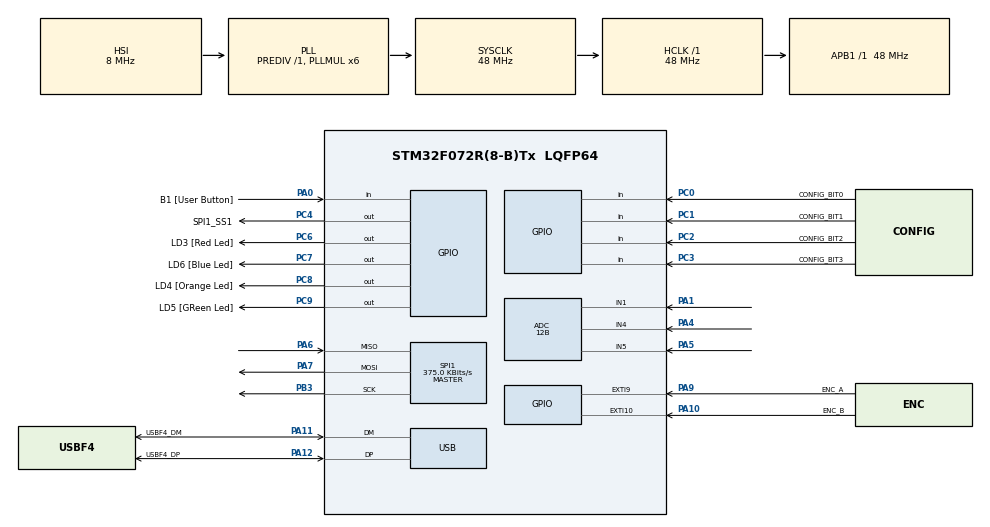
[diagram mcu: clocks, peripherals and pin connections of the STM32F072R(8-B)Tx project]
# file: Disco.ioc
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ADC.ClockPrescaler=ADC_CLOCK_SYNC_PCLK_DIV4
ADC.ContinuousConvMode=ENABLE
ADC.DMAContinuousRequests=ENABLE
ADC.Resolution=ADC_RESOLUTION_12B
ADC.SamplingTime=ADC_SAMPLETIME_28CYCLES_5
ADC.ScanConvMode=ADC_SCAN_DIRECTION_FORWARD
Dma.ADC.0.Direction=DMA_PERIPH_TO_MEMORY
Dma.ADC.0.Instance=DMA1_Channel1
Dma.ADC.0.MemDataAlignment=DMA_MDATAALIGN_WORD
Dma.ADC.0.MemInc=DMA_MINC_ENABLE
Dma.ADC.0.Mode=DMA_CIRCULAR
Dma.ADC.0.PeriphDataAlignment=DMA_PDATAALIGN_WORD
Dma.ADC.0.PeriphInc=DMA_PINC_DISABLE
Dma.ADC.0.Priority=DMA_PRIORITY_LOW
Dma.Request0=ADC
Mcu.Family=STM32F0
Mcu.Name=STM32F072R(8-B)Tx
Mcu.Package=LQFP64
NVIC.DMA1_Channel1_IRQn=true\:0\:0\:true\:false\:true\:false\:true
NVIC.EXTI4_15_IRQn=true\:0\:0\:true\:false\:true\:true\:true
NVIC.TIM14_IRQn=true\:0\:0\:true\:false\:true\:true\:true
NVIC.USB_IRQn=true\:0\:0\:true\:false\:true\:false\:true
PA0.GPIO_Label=B1 [User Button]
PA0.Signal=GPIO_Input
PA1.Mode=IN1
PA1.Signal=ADC_IN1
PA10.GPIO_Label=ENC_B
PA10.GPIO_ModeDefaultEXTI=GPIO_MODE_IT_RISING_FALLING
PA10.GPIO_PuPd=GPIO_PULLUP
PA10.Signal=GPXTI10
PA11.GPIO_Label=USBF4_DM
PA11.Mode=Device
PA11.Signal=USB_DM
PA12.GPIO_Label=USBF4_DP
PA12.Mode=Device
PA12.Signal=USB_DP
PA13.GPIO_Label=SWDIO
PA13.Mode=Serial_Wire
PA13.Signal=SYS_SWDIO
PA14.GPIO_Label=SWCLK
PA14.Mode=Serial_Wire
PA14.Signal=SYS_SWCLK
PA4.Mode=IN4
PA4.Signal=ADC_IN4
PA5.Mode=IN5
PA5.Signal=ADC_IN5
PA6.Mode=Full_Duplex_Master
PA6.Signal=SPI1_MISO
PA7.Mode=Full_Duplex_Master
PA7.Signal=SPI1_MOSI
PA9.GPIO_Label=ENC_A
PA9.GPIO_ModeDefaultEXTI=GPIO_MODE_IT_RISING_FALLING
PA9.GPIO_PuPd=GPIO_PULLUP
PA9.Signal=GPXTI9
PB3.Mode=Full_Duplex_Master
PB3.Signal=SPI1_SCK
PC0.GPIO_Label=CONFIG_BIT0
PC0.Signal=GPIO_Input
PC1.GPIO_Label=CONFIG_BIT1
PC1.Signal=GPIO_Input
PC2.GPIO_Label=CONFIG_BIT2
PC2.Signal=GPIO_Input
PC3.GPIO_Label=CONFIG_BIT3
PC3.Signal=GPIO_Input
PC4.GPIO_Label=SPI1_SS1
PC4.Signal=GPIO_Output
PC6.GPIO_Label=LD3 [Red Led]
PC6.Signal=GPIO_Output
PC7.GPIO_Label=LD6 [Blue Led]
PC7.Signal=GPIO_Output
PC8.GPIO_Label=LD4 [Orange Led]
PC8.Signal=GPIO_Output
PC9.GPIO_Label=LD5 [GReen Led]
PC9.Signal=GPIO_Output
ProjectManager.HeapSize=0x200
ProjectManager.StackSize=0x400
ProjectManager.TargetToolchain=STM32CubeIDE
RCC.AHBFreq_Value=48000000
RCC.APB1Freq_Value=48000000
RCC.APB1TimFreq_Value=48000000
RCC.HCLKFreq_Value=48000000
RCC.PLLMUL=RCC_PLL_MUL6
RCC.SYSCLKFreq_VALUE=48000000
RCC.SYSCLKSource=RCC_SYSCLKSOURCE_PLLCLK
SPI1.BaudRatePrescaler=SPI_BAUDRATEPRESCALER_128
SPI1.CLKPhase=SPI_PHASE_1EDGE
SPI1.CLKPolarity=SPI_POLARITY_LOW
SPI1.CalculateBaudRate=375.0 KBits/s
SPI1.DataSize=SPI_DATASIZE_8BIT
SPI1.Direction=SPI_DIRECTION_2LINES
SPI1.Mode=SPI_MODE_MASTER
SPI1.VirtualType=VM_MASTER
TIM14.Period=64865
TIM14.Prescaler=74
TIM2.Prescaler=48
USB.phy_itface=PCD_PHY_EMBEDDED
USB.speed=PCD_SPEED_FULL
USB_DEVICE.CLASS_NAME_FS=CDC
USB_DEVICE.VirtualMode=Cdc
USB_DEVICE.VirtualModeFS=Cdc_FS
VP_TIM14_VS_ClockSourceINT.Mode=Enable_Timer
VP_TIM2_VS_ClockSourceINT.Mode=Internal
VP_USB_DEVICE_VS_USB_DEVICE_CDC_FS.Mode=CDC_FS
board=STM32F072B-DISCO

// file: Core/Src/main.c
/* USER CODE BEGIN Header */
/**
  ******************************************************************************
  * @file           : main.c
  * @brief          : Main program body
  ******************************************************************************
  * @attention
  *
  * <h2><center>&copy; Copyright (c) 2020 STMicroelectronics.
  * All rights reserved.</center></h2>
  *
  * This software component is licensed by ST under BSD 3-Clause license,
  * the "License"; You may not use this file except in compliance with the
  * License. You may obtain a copy of the License at:
  *                        opensource.org/licenses/BSD-3-Clause
  *
  ******************************************************************************
  */
/* USER CODE END Header */
#include "main.h"
#include "usb_device.h"

/* USER CODE BEGIN Includes */
#include "acquisition.h"
#include "outputs.h"
#include "panda_usb_device.h"
/* USER CODE END Includes */

ADC_HandleTypeDef hadc;
DMA_HandleTypeDef hdma_adc;

SPI_HandleTypeDef hspi1;

TIM_HandleTypeDef htim2;
TIM_HandleTypeDef htim14;

void SystemClock_Config(void);
static void MX_GPIO_Init(void);
static void MX_DMA_Init(void);
static void MX_TIM14_Init(void);
static void MX_ADC_Init(void);
static void MX_TIM2_Init(void);
static void MX_SPI1_Init(void);

/* USER CODE BEGIN 0 */
void spiTransmit(){
	HAL_GPIO_WritePin(SPI1_SS1_GPIO_Port, SPI1_SS1_Pin, 0);
	HAL_Delay(5);
	uint8_t pData[5];
	pData[0] = 55;
	HAL_SPI_Transmit(&hspi1,pData, 1, 50);
	HAL_Delay(5);
	HAL_GPIO_WritePin(SPI1_SS1_GPIO_Port, SPI1_SS1_Pin, 1);
}
/* USER CODE END 0 */

int main(void)
{

  /* MCU Configuration--------------------------------------------------------*/

  /* Reset of all peripherals, Initializes the Flash interface and the Systick. */
  HAL_Init();

  /* Configure the system clock */
  SystemClock_Config();

  /* Initialize all configured peripherals */
  MX_GPIO_Init();
  MX_DMA_Init();
  MX_TIM14_Init();
  MX_USB_DEVICE_Init();
  MX_ADC_Init();
  MX_TIM2_Init();
  MX_SPI1_Init();
  /* USER CODE BEGIN 2 */

  usb_init();
  outputsInit(&htim14);
  acquisitionInit(&hadc, &htim2);
  statusLedBlink();
  HAL_GPIO_WritePin(SPI1_SS1_GPIO_Port, SPI1_SS1_Pin, 1);

  /* USER CODE END 2 */

  /* Infinite loop */
  /* USER CODE BEGIN WHILE */
  while (1)
  {
	  usbController();
	  userLedController();
	  if(HAL_GPIO_ReadPin(B1_GPIO_Port, B1_Pin)){
		  spiTransmit();
		  HAL_Delay(500);
	  }

    /* USER CODE END WHILE */

  }
}

void SystemClock_Config(void)
{
  RCC_OscInitTypeDef RCC_OscInitStruct = {0};
  RCC_ClkInitTypeDef RCC_ClkInitStruct = {0};
  RCC_PeriphCLKInitTypeDef PeriphClkInit = {0};

  /** Initializes the RCC Oscillators according to the specified parameters
  * in the RCC_OscInitTypeDef structure.
  */
  RCC_OscInitStruct.OscillatorType = RCC_OSCILLATORTYPE_HSI|RCC_OSCILLATORTYPE_HSI48;
  RCC_OscInitStruct.HSIState = RCC_HSI_ON;
  RCC_OscInitStruct.HSI48State = RCC_HSI48_ON;
  RCC_OscInitStruct.HSICalibrationValue = RCC_HSICALIBRATION_DEFAULT;
  RCC_OscInitStruct.PLL.PLLState = RCC_PLL_ON;
  RCC_OscInitStruct.PLL.PLLSource = RCC_PLLSOURCE_HSI;
  RCC_OscInitStruct.PLL.PLLMUL = RCC_PLL_MUL6;
  RCC_OscInitStruct.PLL.PREDIV = RCC_PREDIV_DIV1;
  if (HAL_RCC_OscConfig(&RCC_OscInitStruct) != HAL_OK)
  {
    Error_Handler();
  }
  /** Initializes the CPU, AHB and APB buses clocks
  */
  RCC_ClkInitStruct.ClockType = RCC_CLOCKTYPE_HCLK|RCC_CLOCKTYPE_SYSCLK
                              |RCC_CLOCKTYPE_PCLK1;
  RCC_ClkInitStruct.SYSCLKSource = RCC_SYSCLKSOURCE_PLLCLK;
  RCC_ClkInitStruct.AHBCLKDivider = RCC_SYSCLK_DIV1;
  RCC_ClkInitStruct.APB1CLKDivider = RCC_HCLK_DIV1;

  if (HAL_RCC_ClockConfig(&RCC_ClkInitStruct, FLASH_LATENCY_1) != HAL_OK)
  {
    Error_Handler();
  }
  PeriphClkInit.PeriphClockSelection = RCC_PERIPHCLK_USB;
  PeriphClkInit.UsbClockSelection = RCC_USBCLKSOURCE_HSI48;

  if (HAL_RCCEx_PeriphCLKConfig(&PeriphClkInit) != HAL_OK)
  {
    Error_Handler();
  }
}

static void MX_ADC_Init(void)
{

  ADC_ChannelConfTypeDef sConfig = {0};

  /** Configure the global features of the ADC (Clock, Resolution, Data Alignment and number of conversion)
  */
  hadc.Instance = ADC1;
  hadc.Init.ClockPrescaler = ADC_CLOCK_SYNC_PCLK_DIV4;
  hadc.Init.Resolution = ADC_RESOLUTION_12B;
  hadc.Init.DataAlign = ADC_DATAALIGN_RIGHT;
  hadc.Init.ScanConvMode = ADC_SCAN_DIRECTION_FORWARD;
  hadc.Init.EOCSelection = ADC_EOC_SINGLE_CONV;
  hadc.Init.LowPowerAutoWait = DISABLE;
  hadc.Init.LowPowerAutoPowerOff = DISABLE;
  hadc.Init.ContinuousConvMode = ENABLE;
  hadc.Init.DiscontinuousConvMode = DISABLE;
  hadc.Init.ExternalTrigConv = ADC_SOFTWARE_START;
  hadc.Init.ExternalTrigConvEdge = ADC_EXTERNALTRIGCONVEDGE_NONE;
  hadc.Init.DMAContinuousRequests = ENABLE;
  hadc.Init.Overrun = ADC_OVR_DATA_PRESERVED;
  if (HAL_ADC_Init(&hadc) != HAL_OK)
  {
    Error_Handler();
  }
  /** Configure for the selected ADC regular channel to be converted.
  */
  sConfig.Channel = ADC_CHANNEL_1;
  sConfig.Rank = ADC_RANK_CHANNEL_NUMBER;
  sConfig.SamplingTime = ADC_SAMPLETIME_28CYCLES_5;
  if (HAL_ADC_ConfigChannel(&hadc, &sConfig) != HAL_OK)
  {
    Error_Handler();
  }
  /** Configure for the selected ADC regular channel to be converted.
  */
  sConfig.Channel = ADC_CHANNEL_4;
  if (HAL_ADC_ConfigChannel(&hadc, &sConfig) != HAL_OK)
  {
    Error_Handler();
  }
  /** Configure for the selected ADC regular channel to be converted.
  */
  sConfig.Channel = ADC_CHANNEL_5;
  if (HAL_ADC_ConfigChannel(&hadc, &sConfig) != HAL_OK)
  {
    Error_Handler();
  }

}

static void MX_SPI1_Init(void)
{

  /* SPI1 parameter configuration*/
  hspi1.Instance = SPI1;
  hspi1.Init.Mode = SPI_MODE_MASTER;
  hspi1.Init.Direction = SPI_DIRECTION_2LINES;
  hspi1.Init.DataSize = SPI_DATASIZE_8BIT;
  hspi1.Init.CLKPolarity = SPI_POLARITY_LOW;
  hspi1.Init.CLKPhase = SPI_PHASE_1EDGE;
  hspi1.Init.NSS = SPI_NSS_SOFT;
  hspi1.Init.BaudRatePrescaler = SPI_BAUDRATEPRESCALER_128;
  hspi1.Init.FirstBit = SPI_FIRSTBIT_MSB;
  hspi1.Init.TIMode = SPI_TIMODE_DISABLE;
  hspi1.Init.CRCCalculation = SPI_CRCCALCULATION_DISABLE;
  hspi1.Init.CRCPolynomial = 7;
  hspi1.Init.CRCLength = SPI_CRC_LENGTH_DATASIZE;
  hspi1.Init.NSSPMode = SPI_NSS_PULSE_ENABLE;
  if (HAL_SPI_Init(&hspi1) != HAL_OK)
  {
    Error_Handler();
  }

}

static void MX_TIM2_Init(void)
{

  TIM_ClockConfigTypeDef sClockSourceConfig = {0};
  TIM_MasterConfigTypeDef sMasterConfig = {0};

  htim2.Instance = TIM2;
  htim2.Init.Prescaler = 48;
  htim2.Init.CounterMode = TIM_COUNTERMODE_UP;
  htim2.Init.Period = 4294967295;
  htim2.Init.ClockDivision = TIM_CLOCKDIVISION_DIV1;
  htim2.Init.AutoReloadPreload = TIM_AUTORELOAD_PRELOAD_DISABLE;
  if (HAL_TIM_Base_Init(&htim2) != HAL_OK)
  {
    Error_Handler();
  }
  sClockSourceConfig.ClockSource = TIM_CLOCKSOURCE_INTERNAL;
  if (HAL_TIM_ConfigClockSource(&htim2, &sClockSourceConfig) != HAL_OK)
  {
    Error_Handler();
  }
  sMasterConfig.MasterOutputTrigger = TIM_TRGO_RESET;
  sMasterConfig.MasterSlaveMode = TIM_MASTERSLAVEMODE_DISABLE;
  if (HAL_TIMEx_MasterConfigSynchronization(&htim2, &sMasterConfig) != HAL_OK)
  {
    Error_Handler();
  }

}

static void MX_TIM14_Init(void)
{

  htim14.Instance = TIM14;
  htim14.Init.Prescaler = 74;
  htim14.Init.CounterMode = TIM_COUNTERMODE_UP;
  htim14.Init.Period = 64865;
  htim14.Init.ClockDivision = TIM_CLOCKDIVISION_DIV1;
  htim14.Init.AutoReloadPreload = TIM_AUTORELOAD_PRELOAD_DISABLE;
  if (HAL_TIM_Base_Init(&htim14) != HAL_OK)
  {
    Error_Handler();
  }

}

static void MX_DMA_Init(void)
{

  /* DMA controller clock enable */
  __HAL_RCC_DMA1_CLK_ENABLE();

  /* DMA interrupt init */
  /* DMA1_Channel1_IRQn interrupt configuration */
  HAL_NVIC_SetPriority(DMA1_Channel1_IRQn, 0, 0);
  HAL_NVIC_EnableIRQ(DMA1_Channel1_IRQn);

}

static void MX_GPIO_Init(void)
{
  GPIO_InitTypeDef GPIO_InitStruct = {0};

  /* GPIO Ports Clock Enable */
  __HAL_RCC_GPIOC_CLK_ENABLE();
  __HAL_RCC_GPIOA_CLK_ENABLE();
  __HAL_RCC_GPIOB_CLK_ENABLE();

  /*Configure GPIO pin Output Level */
  HAL_GPIO_WritePin(GPIOC, SPI1_SS1_Pin|LD3_Pin|LD6_Pin|LD4_Pin
                          |LD5_Pin, GPIO_PIN_RESET);

  /*Configure GPIO pins : CONFIG_BIT0_Pin CONFIG_BIT1_Pin CONFIG_BIT2_Pin CONFIG_BIT3_Pin */
  GPIO_InitStruct.Pin = CONFIG_BIT0_Pin|CONFIG_BIT1_Pin|CONFIG_BIT2_Pin|CONFIG_BIT3_Pin;
  GPIO_InitStruct.Mode = GPIO_MODE_INPUT;
  GPIO_InitStruct.Pull = GPIO_NOPULL;
  HAL_GPIO_Init(GPIOC, &GPIO_InitStruct);

  /*Configure GPIO pin : B1_Pin */
  GPIO_InitStruct.Pin = B1_Pin;
  GPIO_InitStruct.Mode = GPIO_MODE_INPUT;
  GPIO_InitStruct.Pull = GPIO_NOPULL;
  HAL_GPIO_Init(B1_GPIO_Port, &GPIO_InitStruct);

  /*Configure GPIO pins : SPI1_SS1_Pin LD3_Pin LD6_Pin LD4_Pin
                           LD5_Pin */
  GPIO_InitStruct.Pin = SPI1_SS1_Pin|LD3_Pin|LD6_Pin|LD4_Pin
                          |LD5_Pin;
  GPIO_InitStruct.Mode = GPIO_MODE_OUTPUT_PP;
  GPIO_InitStruct.Pull = GPIO_NOPULL;
  GPIO_InitStruct.Speed = GPIO_SPEED_FREQ_LOW;
  HAL_GPIO_Init(GPIOC, &GPIO_InitStruct);

  /*Configure GPIO pins : ENC_A_Pin ENC_B_Pin */
  GPIO_InitStruct.Pin = ENC_A_Pin|ENC_B_Pin;
  GPIO_InitStruct.Mode = GPIO_MODE_IT_RISING_FALLING;
  GPIO_InitStruct.Pull = GPIO_PULLUP;
  HAL_GPIO_Init(GPIOA, &GPIO_InitStruct);

  /* EXTI interrupt init*/
  HAL_NVIC_SetPriority(EXTI4_15_IRQn, 0, 0);
  HAL_NVIC_EnableIRQ(EXTI4_15_IRQn);

}

/* USER CODE BEGIN 4 */
void HAL_GPIO_EXTI_Callback(uint16_t GPIO_Pin)
{
  if(GPIO_Pin == ENC_A_Pin || GPIO_Pin == ENC_B_Pin){
	  encoderController();
  }

}
/* USER CODE END 4 */

void Error_Handler(void)
{
}

/************************ (C) COPYRIGHT STMicroelectronics *****END OF FILE****/
